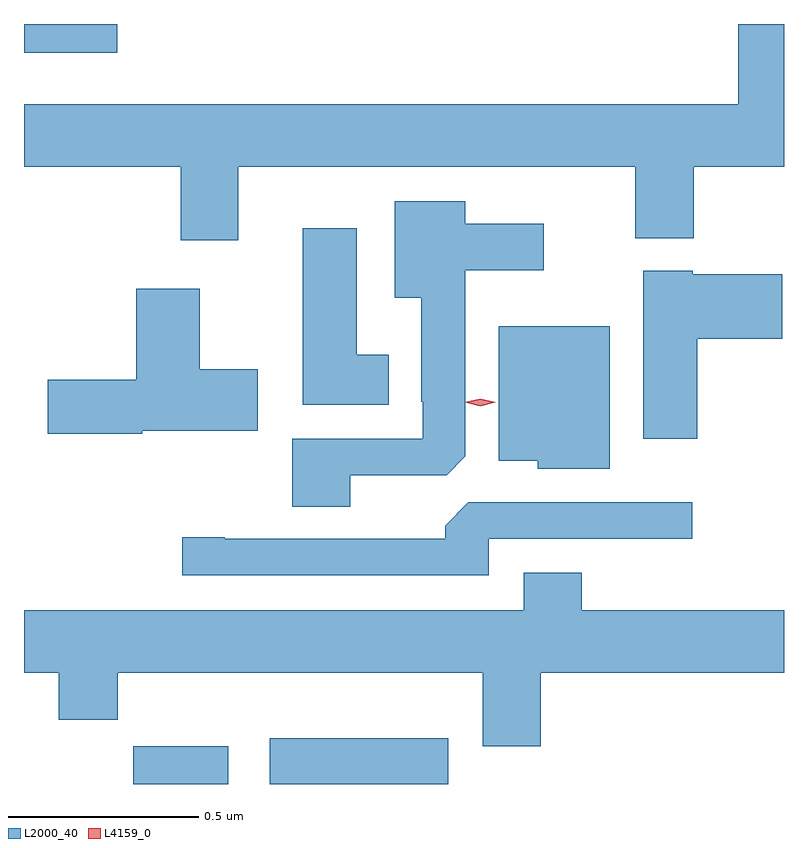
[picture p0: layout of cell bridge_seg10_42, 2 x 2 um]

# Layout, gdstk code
import gdstk
lib = gdstk.Library(unit=1e-6, precision=1e-09)
def R(c, l, rs):  # rectangles x0, y0, x1, y1
    for r in rs: c.add(gdstk.rectangle(r[:2], r[2:], *l))
def P(c, l, *ps):  # polygons
    for p in ps: c.add(gdstk.Polygon(p, *l))
L2000_40 = (2000, 40)
L4159_0 = (4159, 0)

bridge_seg10_42 = lib.new_cell('bridge_seg10_42')
R(bridge_seg10_42, L2000_40, [(924.136,1301.355,924.385,1301.455), (924.495,1301.355,924.964,1301.476), (923.848,1303.28,924.094,1303.355)])
P(bridge_seg10_42, L2000_40, [(923.848,1302.98),(924.26,1302.98),(924.26,1302.786),(924.412,1302.786),(924.412,1302.98),(925.457,1302.98),(925.457,1302.791),(925.61,1302.791),(925.61,1302.98),(925.848,1302.98),(925.848,1303.355),(925.728,1303.355),(925.728,1303.144),(923.848,1303.144)],
  [(924.706,1302.168),(924.96,1302.168),(925.009,1302.217),(925.009,1302.707),(925.216,1302.707),(925.216,1302.829),(925.009,1302.829),(925.009,1302.889),(924.824,1302.889),(924.824,1302.635),(924.893,1302.635),(924.893,1302.361),(924.897,1302.361),(924.897,1302.264),(924.554,1302.264),(924.554,1302.085),(924.706,1302.085)],
  [(924.808,1302.484),(924.724,1302.484),(924.724,1302.817),(924.581,1302.817),(924.581,1302.353),(924.808,1302.353)],
  [(925.62,1302.527),(925.843,1302.527),(925.843,1302.697),(925.608,1302.697),(925.608,1302.706),(925.478,1302.706),(925.478,1302.264),(925.62,1302.264)],
  [(924.159,1302.284),(924.463,1302.284),(924.463,1302.447),(924.31,1302.447),(924.31,1302.658),(924.143,1302.658),(924.143,1302.419),(923.91,1302.419),(923.91,1302.277),(924.159,1302.277)],
  [(925.39,1302.559),(925.097,1302.559),(925.097,1302.206),(925.2,1302.206),(925.2,1302.185),(925.39,1302.185)],
  [(925.071,1302),(925.606,1302),(925.606,1302.096),(925.017,1302.096),(924.956,1302.034),(924.956,1302),(924.376,1302),(924.376,1302.005),(924.264,1302.005),(924.264,1301.904),(925.071,1301.904)],
  [(925.208,1301.648),(925.848,1301.648),(925.848,1301.812),(925.316,1301.812),(925.316,1301.911),(925.163,1301.911),(925.163,1301.812),(923.848,1301.812),(923.848,1301.648),(923.939,1301.648),(923.939,1301.524),(924.095,1301.524),(924.095,1301.648),(925.055,1301.648),(925.055,1301.454),(925.208,1301.454)])
P(bridge_seg10_42, L4159_0, [(925.049,1302.349),(925.008,1302.359),(925.008,1302.359),(925.008,1302.359),(925.049,1302.369),(925.09,1302.359),(925.09,1302.359),(925.09,1302.359)])

lib.write_gds('bridge_seg10_42.gds')
